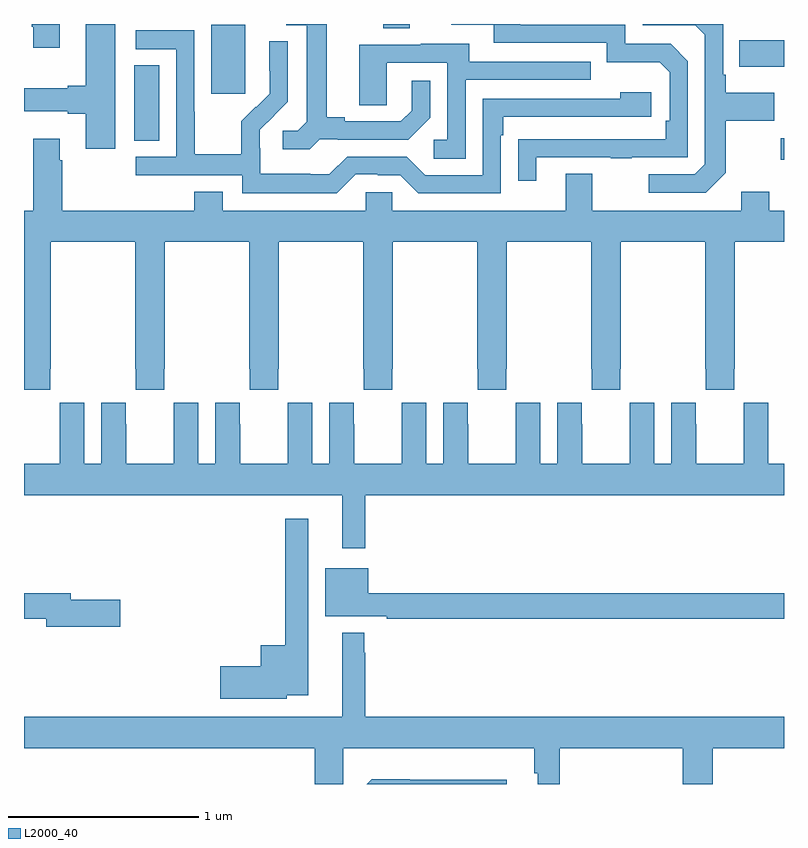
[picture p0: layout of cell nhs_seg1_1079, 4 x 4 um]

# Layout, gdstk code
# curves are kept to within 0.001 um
import gdstk
lib = gdstk.Library(unit=1e-6, precision=1e-09)
def R(c, l, rs):  # rectangles x0, y0, x1, y1
    for r in rs: c.add(gdstk.rectangle(r[:2], r[2:], *l))
def P(c, l, *ps):  # polygons
    for p in ps: c.add(gdstk.Polygon(p, *l))
L2000_40 = (2000, 40)

nhs_seg1_1079 = lib.new_cell('nhs_seg1_1079')
R(nhs_seg1_1079, L2000_40, [(172.983,565.485,173,565.598), (169.58,565.585,169.711,565.982), (169.985,565.833,170.164,566.194), (172.765,565.973,173,566.113), (170.891,566.176,171.031,566.199)])
P(nhs_seg1_1079, L2000_40, [(172.693,565.417),(172.693,565.69),(172.949,565.69),(172.949,565.837),(172.693,565.837),(172.693,565.933),(172.68,565.933),(172.68,566.199),(172.257,566.199),(172.257,566.193),(172.533,566.193),(172.584,566.142),(172.584,565.461),(172.53,565.407),(172.287,565.407),(172.287,565.311),(172.587,565.311)],
  [(170.556,565.593),(170.65,565.593),(170.65,565.59),(171.022,565.59),(171.138,565.706),(171.138,565.9),(171.041,565.9),(171.041,565.743),(170.984,565.686),(170.689,565.686),(170.689,565.709),(170.593,565.709),(170.593,566.199),(170.379,566.199),(170.379,566.193),(170.489,566.193),(170.489,565.685),(170.442,565.638),(170.361,565.638),(170.361,565.541),(170.504,565.541)],
  [(169.189,566.199),(169.042,566.199),(169.042,566.185),(169.049,566.185),(169.049,566.073),(169.189,566.073)],
  [(171.697,565.497),(172.087,565.497),(172.087,565.492),(172.199,565.492),(172.199,565.497),(172.494,565.497),(172.494,566.004),(172.404,566.094),(172.164,566.094),(172.164,566.196),(171.613,566.196),(171.613,566.199),(171.249,566.199),(171.249,566.196),(171.473,566.196),(171.473,566.1),(172.068,566.1),(172.068,565.997),(172.345,565.997),(172.398,565.944),(172.398,565.69),(172.378,565.69),(172.378,565.593),(171.601,565.592),(171.601,565.374),(171.697,565.374)],
  [(169.48,566.199),(169.325,566.199),(169.325,565.874),(169.229,565.874),(169.229,565.861),(169,565.861),(169,565.739),(169.229,565.739),(169.229,565.727),(169.325,565.727),(169.325,565.542),(169.48,565.542)],
  [(170.745,565.407),(170.861,565.407),(170.861,565.404),(170.979,565.404),(171.075,565.308),(171.51,565.308),(171.51,565.613),(171.523,565.613),(171.523,565.71),(172.3,565.71),(172.3,565.84),(172.139,565.84),(172.139,565.806),(171.414,565.806),(171.414,565.404),(171.111,565.404),(171.015,565.5),(170.7,565.5),(170.607,565.407),(170.507,565.407),(170.507,565.411),(170.244,565.411),(170.244,565.545),(170.242,565.545),(170.242,565.642),(170.388,565.79),(170.388,566.108),(170.292,566.108),(170.292,565.954),(170.294,565.954),(170.294,565.832),(170.223,565.761),(170.22,565.764),(170.143,565.687),(170.143,565.513),(169.899,565.513),(169.899,565.736),(169.896,565.736),(169.896,566.166),(169.587,566.166),(169.587,566.067),(169.8,566.067),(169.8,565.5),(169.587,565.5),(169.587,565.404),(170.148,565.404),(170.148,565.307),(170.645,565.307)],
  [(171.324,565.905),(171.983,565.905),(171.983,566.001),(171.343,566.001),(171.343,566.095),(171.089,566.095),(171.089,566.091),(170.765,566.091),(170.765,565.771),(170.91,565.771),(170.91,565.995),(171.228,565.995),(171.228,565.59),(171.156,565.59),(171.156,565.489),(171.324,565.489)],
  [(169.137,564.385),(169.14,564.385),(169.14,565.052),(169.585,565.052),(169.585,564.385),(169.587,564.385),(169.587,564.273),(169.737,564.273),(169.737,564.385),(169.74,564.385),(169.74,565.052),(170.185,565.052),(170.185,564.385),(170.187,564.385),(170.187,564.273),(170.337,564.273),(170.337,564.385),(170.34,564.385),(170.34,565.052),(170.785,565.052),(170.785,564.385),(170.787,564.385),(170.787,564.273),(170.937,564.273),(170.937,564.385),(170.94,564.385),(170.94,565.052),(171.385,565.052),(171.385,564.385),(171.387,564.385),(171.387,564.273),(171.537,564.273),(171.537,564.385),(171.54,564.385),(171.54,565.052),(171.985,565.052),(171.985,564.385),(171.987,564.385),(171.987,564.273),(172.137,564.273),(172.137,564.385),(172.14,564.385),(172.14,565.052),(172.585,565.052),(172.585,564.385),(172.587,564.385),(172.587,564.273),(172.737,564.273),(172.737,564.385),(172.74,564.385),(172.74,565.052),(173,565.052),(173,565.216),(172.923,565.216),(172.923,565.315),(172.775,565.315),(172.775,565.216),(171.991,565.216),(171.991,565.411),(171.851,565.411),(171.851,565.216),(170.937,565.216),(170.937,565.314),(170.799,565.314),(170.799,565.216),(170.047,565.216),(170.047,565.315),(169.895,565.315),(169.895,565.216),(169.202,565.216),(169.202,565.481),(169.189,565.481),(169.189,565.594),(169.049,565.594),(169.049,565.216),(169,565.216),(169,564.273),(169.137,564.273)],
  [(170.797,563.72),(173,563.72),(173,563.884),(172.918,563.884),(172.918,564.205),(172.788,564.205),(172.788,564.092),(172.787,564.092),(172.787,563.884),(172.537,563.884),(172.537,564.092),(172.536,564.092),(172.536,564.205),(172.406,564.205),(172.406,563.884),(172.318,563.884),(172.318,564.205),(172.188,564.205),(172.188,564.092),(172.187,564.092),(172.187,563.884),(171.937,563.884),(171.937,564.092),(171.936,564.092),(171.936,564.205),(171.806,564.205),(171.806,563.884),(171.718,563.884),(171.718,564.205),(171.588,564.205),(171.588,564.092),(171.587,564.092),(171.587,563.884),(171.337,563.884),(171.337,564.092),(171.336,564.092),(171.336,564.205),(171.206,564.205),(171.206,563.884),(171.118,563.884),(171.118,564.205),(170.988,564.205),(170.988,564.092),(170.987,564.092),(170.987,563.884),(170.737,563.884),(170.737,564.092),(170.736,564.092),(170.736,564.205),(170.606,564.205),(170.606,563.884),(170.518,563.884),(170.518,564.205),(170.388,564.205),(170.388,564.092),(170.387,564.092),(170.387,563.884),(170.137,563.884),(170.137,564.092),(170.136,564.092),(170.136,564.205),(170.006,564.205),(170.006,563.884),(169.918,563.884),(169.918,564.205),(169.788,564.205),(169.788,564.092),(169.787,564.092),(169.787,563.884),(169.537,563.884),(169.537,564.092),(169.536,564.092),(169.536,564.205),(169.406,564.205),(169.406,563.884),(169.318,563.884),(169.318,564.205),(169.188,564.205),(169.188,564.092),(169.187,564.092),(169.187,563.884),(169,563.884),(169,563.72),(170.675,563.72),(170.675,563.439),(170.797,563.439)],
  [(170.382,562.667),(170.497,562.667),(170.497,563.596),(170.376,563.596),(170.376,562.93),(170.246,562.93),(170.246,562.82),(170.034,562.82),(170.034,562.649),(170.382,562.649)],
  [(173,563.204),(170.812,563.204),(170.812,563.335),(170.585,563.335),(170.585,563.081),(170.908,563.081),(170.908,563.068),(173,563.068)],
  [(169.507,563.168),(169.246,563.168),(169.246,563.204),(169,563.204),(169,563.068),(169.118,563.068),(169.118,563.026),(169.507,563.026)],
  [(170.681,562.388),(171.685,562.388),(171.685,562.256),(171.704,562.256),(171.704,562.199),(171.821,562.199),(171.821,562.388),(172.466,562.388),(172.466,562.199),(172.626,562.199),(172.626,562.388),(173,562.388),(173,562.552),(170.797,562.552),(170.797,562.889),(170.79,562.889),(170.79,562.996),(170.675,562.996),(170.675,562.552),(169,562.552),(169,562.388),(170.531,562.388),(170.531,562.199),(170.681,562.199)],
  [(171.541,562.222),(171.029,562.222),(171.029,562.225),(170.83,562.225),(170.804,562.199),(171.541,562.199)])

lib.write_gds('nhs_seg1_1079.gds')
